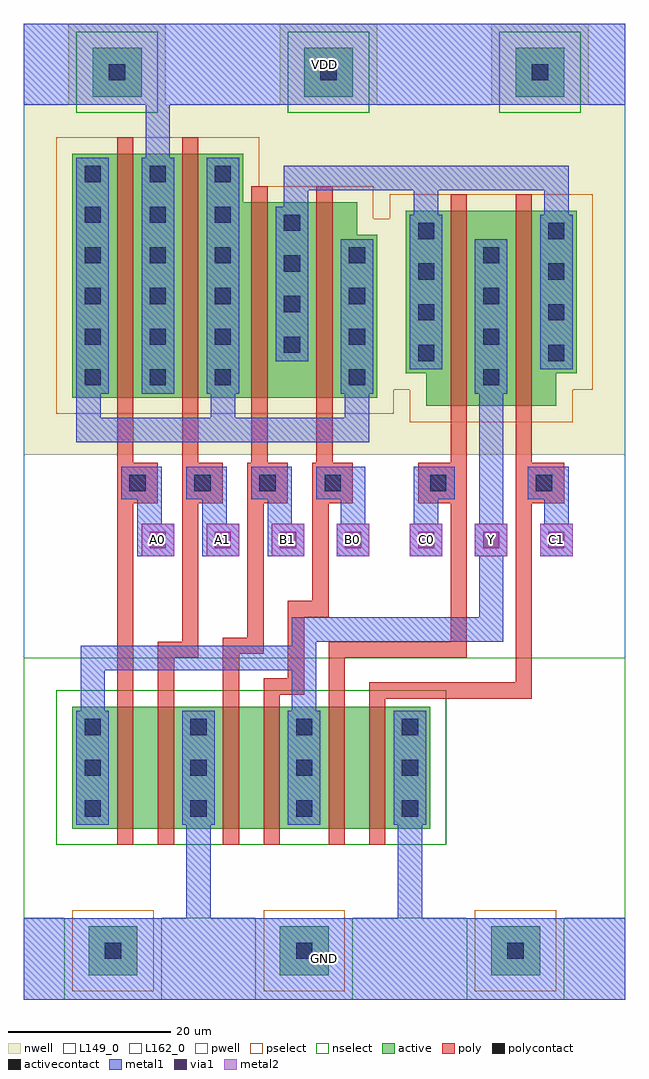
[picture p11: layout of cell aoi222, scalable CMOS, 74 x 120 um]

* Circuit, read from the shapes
.subckt aoi222 A0 A1 B0 B1 C0 C1 GND VDD Y
M1 n1 A0 Y GND nfet w=15u l=2u
M2 GND A1 n1 GND nfet w=15u l=2u
M3 n2 B1 GND GND nfet w=15u l=2u
M4 Y B0 n2 GND nfet w=15u l=2u
M5 n3 C0 Y GND nfet w=15u l=2u
M6 GND C1 n3 GND nfet w=15u l=2u
M7 VDD A0 n4 VDD pfet w=30u l=2u
M8 n4 A1 VDD VDD pfet w=30u l=2u
M9 n5 B1 n4 VDD pfet w=24u l=2u
M10 n4 B0 n5 VDD pfet w=24u l=2u
M11 Y C0 n5 VDD pfet w=24u l=2u
M12 n5 C1 Y VDD pfet w=24u l=2u
.ends

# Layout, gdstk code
import gdstk
lib = gdstk.Library(unit=1e-6, precision=1e-09)
def R(c, l, rs):  # rectangles x0, y0, x1, y1
    for r in rs: c.add(gdstk.rectangle(r[:2], r[2:], *l))
def A(c, l, x, y, w, h, nx, ny, dx, dy):  # array of equal rectangles
    R(c, l, [(x+i*dx, y+j*dy, x+i*dx+w, y+j*dy+h) for i in range(nx) for j in range(ny)])
def P(c, l, *ps):  # polygons
    for p in ps: c.add(gdstk.Polygon(p, *l))
pwell = (41, 0)
nwell = (42, 0)
active = (43, 0)
pselect = (44, 0)
nselect = (45, 0)
poly = (46, 0)
polycontact = (47, 0)
activecontact = (48, 0)
metal1 = (49, 0)
via1 = (50, 0)
metal2 = (51, 0)
L149_0 = (149, 0)
L162_0 = (162, 0)

pwell_contact = lib.new_cell('pwell_contact')
R(pwell_contact, pwell, [(-6,-6,6,5)])
R(pwell_contact, active, [(-3,-3,3,3)])
R(pwell_contact, pselect, [(-5,-5,5,5)])
R(pwell_contact, activecontact, [(-1,-1,1,1)])

nwell_contact = lib.new_cell('nwell_contact')
R(nwell_contact, nwell, [(-6,-5,6,6)])
R(nwell_contact, active, [(-3,-3,3,3)])
R(nwell_contact, nselect, [(-5,-5,5,5)])
R(nwell_contact, activecontact, [(-1,-1,1,1)])

via = lib.new_cell('via')
R(via, metal1, [(-2,-2,2,2)])
R(via, via1, [(-1,-1,1,1)])
R(via, metal2, [(-2,-2,2,2)])

aoi222 = lib.new_cell('aoi222')
R(aoi222, pwell, [(0,10,74,20), (0,10,74,42), (0,15,56,42)])
R(aoi222, nwell, [(0,67,74,110), (0,95,74,110)])
P(aoi222, nwell, [(43.5,67),(43.5,71),(41,71),(41,103),(74,103),(74,71),(71.5,71),(71.5,67)],
  [(0,68),(0,110),(33,110),(33,104),(47,104),(47,100),(49.5,100),(49.5,68)])
R(aoi222, active, [(6,21,50,36), (6,21,11.5,36), (44.5,21,50,36), (6,74,11.5,104)])
P(aoi222, active, [(49.5,73),(49.5,77),(47,77),(47,97),(68,97),(68,77),(65.5,77),(65.5,73)],
  [(62.5,73),(62.5,97),(68,97),(68,77),(65.5,77),(65.5,73)],
  [(49.5,73),(49.5,77),(47,77),(47,97),(52.5,97),(52.5,73)],
  [(38,74),(38,98),(41,98),(41,94),(43.5,94),(43.5,74)],
  [(6,74),(6,104),(27,104),(27,98),(41,98),(41,94),(43.5,94),(43.5,74)])
P(aoi222, pselect, [(47.5,71),(47.5,75),(45,75),(45,99),(70,99),(70,75),(67.5,75),(67.5,71)],
  [(4,72),(4,106),(29,106),(29,100),(43,100),(43,96),(45.5,96),(45.5,72)])
R(aoi222, nselect, [(4,19,52,38)])
A(aoi222, poly, 11.5, 61, 5, 5, 4, 1, 8, 0)
R(aoi222, poly, [(11.5,19,13.5,21), (16.5,19,18.5,21), (24.5,19,26.5,21), (29.5,19,31.5,21), (37.5,19,39.5,21), (42.5,19,44.5,21), (11.5,21,13.5,36), (16.5,21,18.5,36), (24.5,21,26.5,36), (29.5,21,31.5,36), (37.5,21,39.5,36), (42.5,21,44.5,36), (11.5,36,13.5,38), (16.5,36,18.5,38), (24.5,36,26.5,38), (29.5,36,31.5,38), (37.5,36,39.5,38), (42.5,36,44.5,38), (48.5,61,53.5,66), (61.5,61,66.5,66), (52.5,71,54.5,73), (60.5,71,62.5,73), (11.5,72,13.5,74), (19.5,72,21.5,74), (28,72,30,74), (36,72,38,74), (52.5,73,54.5,97), (60.5,73,62.5,97), (11.5,74,13.5,104), (19.5,74,21.5,104), (28,74,30,98), (36,74,38,98), (52.5,97,54.5,99), (60.5,97,62.5,99), (28,98,30,100), (36,98,38,100), (11.5,104,13.5,106), (19.5,104,21.5,106)])
A(aoi222, polycontact, 13, 62.5, 2, 2, 4, 1, 8, 0)
R(aoi222, polycontact, [(50,62.5,52,64.5), (63,62.5,65,64.5)])
A(aoi222, activecontact, 7.5, 22.5, 2, 2, 4, 3, 13, 5)
A(aoi222, activecontact, 7.5, 75.5, 2, 2, 3, 6, 8, 5)
A(aoi222, activecontact, 40, 75.5, 2, 2, 1, 4, 0, 5)
A(aoi222, activecontact, 56.5, 75.5, 2, 2, 1, 4, 0, 5)
A(aoi222, activecontact, 48.5, 78.5, 2, 2, 1, 4, 0, 5)
A(aoi222, activecontact, 64.5, 78.5, 2, 2, 1, 4, 0, 5)
A(aoi222, activecontact, 32, 79.5, 2, 2, 1, 4, 0, 5)
A(aoi222, metal1, 6.5, 21.5, 4, 14, 4, 1, 13, 0)
A(aoi222, metal1, 12, 61.5, 4, 4, 4, 1, 8, 0)
A(aoi222, metal1, 6.5, 74.5, 4, 29, 3, 1, 8, 0)
R(aoi222, metal1, [(0,0,74,10), (0,0,74,10), (49,61.5,53,65.5), (62,61.5,66,65.5), (39,74.5,43,93.5), (55.5,74.5,59.5,93.5), (47.5,77.5,51.5,96.5), (63.5,77.5,67.5,96.5), (31,78.5,35,97.5), (0,110,74,120), (0,110,74,120)])
A(aoi222, metal2, 14.5, 54.5, 4, 4, 4, 1, 8, 0)
A(aoi222, metal2, 47.5, 54.5, 4, 4, 3, 1, 8, 0)
A(aoi222, L149_0, 12, 61.5, 4, 4, 4, 1, 8, 0)
R(aoi222, L149_0, [(0,0,74,10), (0,0,74,120), (49,61.5,53,65.5), (62,61.5,66,65.5), (0,110,74,120)])
A(aoi222, L162_0, 14.5, 54.5, 4, 4, 4, 1, 8, 0)
A(aoi222, L162_0, 47.5, 54.5, 4, 4, 3, 1, 8, 0)
aoi222.add(gdstk.FlexPath([(47.5,21.5),(47.5,10)], 3, ends="flush", simple_path=True, layer=149, datatype=0))  # L149_0
aoi222.add(gdstk.FlexPath([(33.5,97.5),(33.5,101),(49.5,101),(49.5,96.5)], 3, ends="flush", simple_path=True, layer=149, datatype=0))  # L149_0
aoi222.add(gdstk.FlexPath([(51,101),(65.5,101),(65.5,96.5)], 3, ends="flush", simple_path=True, layer=149, datatype=0))  # L149_0
aoi222.add(gdstk.FlexPath([(21.5,21.5),(21.5,10)], 3, ends="flush", simple_path=True, layer=149, datatype=0))  # L149_0
aoi222.add(gdstk.FlexPath([(26,70),(41,70),(41,74.5)], 3, ends="flush", simple_path=True, layer=149, datatype=0))  # L149_0
aoi222.add(gdstk.FlexPath([(8,74.5),(8,70),(24.5,70),(24.5,74.5)], 3, ends="flush", simple_path=True, layer=149, datatype=0))  # L149_0
aoi222.add(gdstk.FlexPath([(34.5,35.5),(34.5,42),(8.5,42),(8.5,35.5)], 3, ends="flush", simple_path=True, layer=149, datatype=0))  # L149_0
aoi222.add(gdstk.FlexPath([(49.5,58.5),(49.5,65.5)], 3, ends="flush", simple_path=True, layer=149, datatype=0))  # L149_0
aoi222.add(gdstk.FlexPath([(65.5,58.5),(65.5,65.5)], 3, ends="flush", simple_path=True, layer=149, datatype=0))  # L149_0
aoi222.add(gdstk.FlexPath([(57.5,74.5),(57.5,45.5),(34.5,45.5),(34.5,43.5)], 3, ends="flush", simple_path=True, layer=149, datatype=0))  # L149_0
aoi222.add(gdstk.FlexPath([(23.5,54.5),(23.5,65.5)], 3, ends="flush", simple_path=True, layer=149, datatype=0))  # L149_0
aoi222.add(gdstk.FlexPath([(15.5,54.5),(15.5,65.5)], 3, ends="flush", simple_path=True, layer=149, datatype=0))  # L149_0
aoi222.add(gdstk.FlexPath([(40.5,58.5),(40.5,65.5)], 3, ends="flush", simple_path=True, layer=149, datatype=0))  # L149_0
aoi222.add(gdstk.FlexPath([(31.5,54.5),(31.5,65.5)], 3, ends="flush", simple_path=True, layer=149, datatype=0))  # L149_0
aoi222.add(gdstk.FlexPath([(16.5,103.5),(16.5,110)], 3, ends="flush", simple_path=True, layer=149, datatype=0))  # L149_0
aoi222.add(gdstk.FlexPath([(47.5,21.5),(47.5,10)], 3, ends="flush", simple_path=True, layer=49, datatype=0))  # metal1
aoi222.add(gdstk.FlexPath([(33.5,97.5),(33.5,101),(49.5,101),(49.5,96.5)], 3, ends="flush", simple_path=True, layer=49, datatype=0))  # metal1
aoi222.add(gdstk.FlexPath([(51,101),(65.5,101),(65.5,96.5)], 3, ends="flush", simple_path=True, layer=49, datatype=0))  # metal1
aoi222.add(gdstk.FlexPath([(21.5,21.5),(21.5,10)], 3, ends="flush", simple_path=True, layer=49, datatype=0))  # metal1
aoi222.add(gdstk.FlexPath([(26,70),(41,70),(41,74.5)], 3, ends="flush", simple_path=True, layer=49, datatype=0))  # metal1
aoi222.add(gdstk.FlexPath([(8,74.5),(8,70),(24.5,70),(24.5,74.5)], 3, ends="flush", simple_path=True, layer=49, datatype=0))  # metal1
aoi222.add(gdstk.FlexPath([(31.5,54.5),(31.5,65.5)], 3, ends="flush", simple_path=True, layer=49, datatype=0))  # metal1
aoi222.add(gdstk.FlexPath([(34.5,35.5),(34.5,42),(8.5,42),(8.5,35.5)], 3, ends="flush", simple_path=True, layer=49, datatype=0))  # metal1
aoi222.add(gdstk.FlexPath([(49.5,58.5),(49.5,65.5)], 3, ends="flush", simple_path=True, layer=49, datatype=0))  # metal1
aoi222.add(gdstk.FlexPath([(65.5,58.5),(65.5,65.5)], 3, ends="flush", simple_path=True, layer=49, datatype=0))  # metal1
aoi222.add(gdstk.FlexPath([(57.5,74.5),(57.5,45.5),(34.5,45.5),(34.5,43.5)], 3, ends="flush", simple_path=True, layer=49, datatype=0))  # metal1
aoi222.add(gdstk.FlexPath([(23.5,54.5),(23.5,65.5)], 3, ends="flush", simple_path=True, layer=49, datatype=0))  # metal1
aoi222.add(gdstk.FlexPath([(15.5,54.5),(15.5,65.5)], 3, ends="flush", simple_path=True, layer=49, datatype=0))  # metal1
aoi222.add(gdstk.FlexPath([(40.5,58.5),(40.5,65.5)], 3, ends="flush", simple_path=True, layer=49, datatype=0))  # metal1
aoi222.add(gdstk.FlexPath([(16.5,103.5),(16.5,110)], 3, ends="flush", simple_path=True, layer=49, datatype=0))  # metal1
aoi222.add(gdstk.FlexPath([(20.5,72),(20.5,43),(17.5,43),(17.5,38)], 2, ends="flush", simple_path=True, layer=46, datatype=0))  # poly
aoi222.add(gdstk.FlexPath([(36.5,61),(36.5,48),(33.5,48),(33.5,38.5),(29.5,38.5)], 2, ends="flush", simple_path=True, layer=46, datatype=0))  # poly
aoi222.add(gdstk.FlexPath([(12.5,72),(12.5,38)], 2, ends="flush", simple_path=True, layer=46, datatype=0))  # poly
aoi222.add(gdstk.FlexPath([(38.5,38),(38.5,43),(53.5,43),(53.5,71)], 2, ends="flush", simple_path=True, layer=46, datatype=0))  # poly
aoi222.add(gdstk.FlexPath([(61.5,71),(61.5,38),(42.5,38)], 2, ends="flush", simple_path=True, layer=46, datatype=0))  # poly
aoi222.add(gdstk.FlexPath([(28.5,61),(28.5,43.5),(25.5,43.5),(25.5,38)], 2, ends="flush", simple_path=True, layer=46, datatype=0))  # poly
aoi222.add(gdstk.FlexPath([(29,72),(29,66)], 2, ends="flush", simple_path=True, layer=46, datatype=0))  # poly
aoi222.add(gdstk.FlexPath([(37,72),(37,66)], 2, ends="flush", simple_path=True, layer=46, datatype=0))  # poly
aoi222.add(gdstk.Reference(pwell_contact, (34.5,6)))
aoi222.add(gdstk.Reference(pwell_contact, (60.5,6)))
aoi222.add(gdstk.Reference(pwell_contact, (11,6)))
aoi222.add(gdstk.Reference(nwell_contact, (37.5,114)))
aoi222.add(gdstk.Reference(nwell_contact, (63.5,114)))
aoi222.add(gdstk.Reference(nwell_contact, (11.5,114)))
aoi222.add(gdstk.Reference(via, (49.5,56.5)))
aoi222.add(gdstk.Reference(via, (40.5,56.5)))
aoi222.add(gdstk.Reference(via, (32.5,56.5)))
aoi222.add(gdstk.Reference(via, (24.5,56.5)))
aoi222.add(gdstk.Reference(via, (57.5,56.5)))
aoi222.add(gdstk.Reference(via, (65.5,56.5)))
aoi222.add(gdstk.Reference(via, (16.5,56.5)))
aoi222.add(gdstk.Label('GND', (37,5), layer=2, texttype=0))
aoi222.add(gdstk.Label('VDD', (37,115), layer=2, texttype=0))
aoi222.add(gdstk.Label('B0', (40.5,56.5), layer=3, texttype=0))
aoi222.add(gdstk.Label('B1', (32.5,56.5), layer=3, texttype=0))
aoi222.add(gdstk.Label('A1', (24.5,56.5), layer=3, texttype=0))
aoi222.add(gdstk.Label('A0', (16.5,56.5), layer=3, texttype=0))
aoi222.add(gdstk.Label('C1', (65.5,56.5), layer=3, texttype=0))
aoi222.add(gdstk.Label('C0', (49.5,56.5), layer=3, texttype=0))
aoi222.add(gdstk.Label('Y', (57.5,56.5), layer=3, texttype=0))

lib.write_gds('aoi222.gds')
